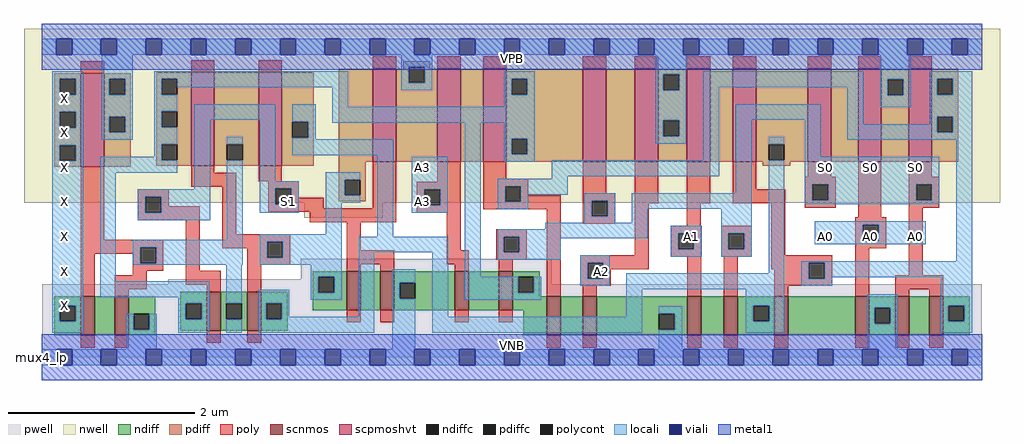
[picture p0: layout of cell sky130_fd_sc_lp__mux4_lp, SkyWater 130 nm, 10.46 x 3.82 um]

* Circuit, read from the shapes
.subckt sky130_fd_sc_lp__mux4_lp A0 A1 A2 A3 S0 S1 VGND VNB VPB VPWR X
XM1 n1 n2 X VNB sky130_fd_pr__nfet_01v8 w=0.42 l=0.15
XM2 VGND n2 n1 VNB sky130_fd_pr__nfet_01v8 w=0.42 l=0.15
XM3 n2 S1 n3 VNB sky130_fd_pr__nfet_01v8 w=0.42 l=0.15
XM4 n4 n5 n2 VNB sky130_fd_pr__nfet_01v8 w=0.42 l=0.15
XM5 n6 S1 n5 VNB sky130_fd_pr__nfet_01v8 w=0.42 l=0.15
XM6 VGND S1 n6 VNB sky130_fd_pr__nfet_01v8 w=0.42 l=0.15
XM7 n7 A3 VGND VNB sky130_fd_pr__nfet_01v8 w=0.42 l=0.15
XM8 n3 S0 n7 VNB sky130_fd_pr__nfet_01v8 w=0.42 l=0.15
XM9 n8 n9 n3 VNB sky130_fd_pr__nfet_01v8 w=0.42 l=0.15
XM10 VGND A2 n8 VNB sky130_fd_pr__nfet_01v8 w=0.42 l=0.15
XM11 n10 A1 VGND VNB sky130_fd_pr__nfet_01v8 w=0.42 l=0.15
XM12 n4 S0 n10 VNB sky130_fd_pr__nfet_01v8 w=0.42 l=0.15
XM13 n11 n9 n4 VNB sky130_fd_pr__nfet_01v8 w=0.42 l=0.15
XM14 VGND A0 n11 VNB sky130_fd_pr__nfet_01v8 w=0.42 l=0.15
XM15 n12 S0 VGND VNB sky130_fd_pr__nfet_01v8 w=0.42 l=0.15
XM16 n9 S0 n12 VNB sky130_fd_pr__nfet_01v8 w=0.42 l=0.15
XM17 VPWR n2 X VPB sky130_fd_pr__pfet_01v8_hvt w=1 l=0.25
XM18 n2 n5 n3 VPB sky130_fd_pr__pfet_01v8_hvt w=1 l=0.25
XM19 n4 S1 n2 VPB sky130_fd_pr__pfet_01v8_hvt w=1 l=0.25
XM20 VPWR S1 n5 VPB sky130_fd_pr__pfet_01v8_hvt w=1 l=0.25
XM21 n13 A3 VPWR VPB sky130_fd_pr__pfet_01v8_hvt w=1 l=0.25
XM22 n3 n9 n13 VPB sky130_fd_pr__pfet_01v8_hvt w=1 l=0.25
XM23 n14 S0 n3 VPB sky130_fd_pr__pfet_01v8_hvt w=1 l=0.25
XM24 VPWR A2 n14 VPB sky130_fd_pr__pfet_01v8_hvt w=1 l=0.25
XM25 n15 A1 VPWR VPB sky130_fd_pr__pfet_01v8_hvt w=1 l=0.25
XM26 n4 n9 n15 VPB sky130_fd_pr__pfet_01v8_hvt w=1 l=0.25
XM27 n16 S0 n4 VPB sky130_fd_pr__pfet_01v8_hvt w=1 l=0.25
XM28 VPWR A0 n16 VPB sky130_fd_pr__pfet_01v8_hvt w=1 l=0.25
XM29 n9 S0 VPWR VPB sky130_fd_pr__pfet_01v8_hvt w=1 l=0.25
.ends

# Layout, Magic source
magic
tech sky130A
magscale 1 2
<< nwell >>
rect -38 331 2054 704
rect 563 299 731 331
<< pwell >>
rect 555 167 1093 211
rect 271 157 1093 167
rect 1 49 2015 157
rect 0 0 2016 49
<< scnmos >>
rect 84 47 114 131
rect 156 47 186 131
rect 354 57 384 141
rect 440 57 470 141
rect 654 101 684 185
rect 726 101 756 185
rect 885 101 915 185
rect 980 101 1010 185
rect 1082 47 1112 131
rect 1160 47 1190 131
rect 1384 47 1414 131
rect 1462 47 1492 131
rect 1570 47 1600 131
rect 1744 47 1774 131
rect 1830 47 1860 131
rect 1902 47 1932 131
<< scpmoshvt >>
rect 84 409 134 609
rect 320 411 370 611
rect 465 411 515 611
rect 710 419 760 619
rect 848 419 898 619
rect 946 419 996 619
rect 1160 419 1210 619
rect 1271 419 1321 619
rect 1383 419 1433 619
rect 1481 419 1531 619
rect 1642 419 1692 619
rect 1750 419 1800 619
rect 1858 419 1908 619
<< ndiff >>
rect 581 173 654 185
rect 27 111 84 131
rect 27 77 39 111
rect 73 77 84 111
rect 27 47 84 77
rect 114 47 156 131
rect 186 93 243 131
rect 186 59 197 93
rect 231 59 243 93
rect 186 47 243 59
rect 297 116 354 141
rect 297 82 309 116
rect 343 82 354 116
rect 297 57 354 82
rect 384 116 440 141
rect 384 82 395 116
rect 429 82 440 116
rect 384 57 440 82
rect 470 116 527 141
rect 470 82 481 116
rect 515 82 527 116
rect 581 139 593 173
rect 627 139 654 173
rect 581 101 654 139
rect 684 101 726 185
rect 756 160 885 185
rect 756 126 767 160
rect 801 126 885 160
rect 756 101 885 126
rect 915 101 980 185
rect 1010 173 1067 185
rect 1010 139 1021 173
rect 1055 139 1067 173
rect 1010 131 1067 139
rect 1010 101 1082 131
rect 470 57 527 82
rect 1032 47 1082 101
rect 1112 47 1160 131
rect 1190 93 1384 131
rect 1190 59 1323 93
rect 1357 59 1384 93
rect 1190 47 1384 59
rect 1414 47 1462 131
rect 1492 111 1570 131
rect 1492 77 1525 111
rect 1559 77 1570 111
rect 1492 47 1570 77
rect 1600 47 1744 131
rect 1774 106 1830 131
rect 1774 72 1785 106
rect 1819 72 1830 106
rect 1774 47 1830 72
rect 1860 47 1902 131
rect 1932 111 1989 131
rect 1932 77 1943 111
rect 1977 77 1989 111
rect 1932 47 1989 77
<< pdiff >>
rect 775 623 833 635
rect 775 619 787 623
rect 27 597 84 609
rect 27 563 39 597
rect 73 563 84 597
rect 27 526 84 563
rect 27 492 39 526
rect 73 492 84 526
rect 27 455 84 492
rect 27 421 39 455
rect 73 421 84 455
rect 27 409 84 421
rect 134 597 191 609
rect 134 563 145 597
rect 179 563 191 597
rect 134 516 191 563
rect 134 482 145 516
rect 179 482 191 516
rect 134 409 191 482
rect 245 597 320 611
rect 245 563 257 597
rect 291 563 320 597
rect 245 527 320 563
rect 245 493 257 527
rect 291 493 320 527
rect 245 457 320 493
rect 245 423 257 457
rect 291 423 320 457
rect 245 411 320 423
rect 370 457 465 611
rect 370 423 397 457
rect 431 423 465 457
rect 370 411 465 423
rect 515 505 583 611
rect 515 471 537 505
rect 571 471 583 505
rect 515 411 583 471
rect 637 419 710 619
rect 760 589 787 619
rect 821 619 833 623
rect 821 589 848 619
rect 760 419 848 589
rect 898 419 946 619
rect 996 597 1160 619
rect 996 563 1007 597
rect 1041 563 1160 597
rect 996 469 1160 563
rect 996 435 1007 469
rect 1041 435 1160 469
rect 996 419 1160 435
rect 1210 419 1271 619
rect 1321 607 1383 619
rect 1321 573 1332 607
rect 1366 573 1383 607
rect 1321 508 1383 573
rect 1321 474 1332 508
rect 1366 474 1383 508
rect 1321 419 1383 474
rect 1433 419 1481 619
rect 1531 457 1642 619
rect 1531 423 1558 457
rect 1592 423 1642 457
rect 1531 419 1642 423
rect 1692 419 1750 619
rect 1800 596 1858 619
rect 1800 562 1813 596
rect 1847 562 1858 596
rect 1800 419 1858 562
rect 1908 597 1965 619
rect 1908 563 1919 597
rect 1953 563 1965 597
rect 1908 516 1965 563
rect 1908 482 1919 516
rect 1953 482 1965 516
rect 1908 419 1965 482
rect 637 381 695 419
rect 637 347 649 381
rect 683 347 695 381
rect 637 335 695 347
rect 1546 411 1604 419
<< ndiffc >>
rect 39 77 73 111
rect 197 59 231 93
rect 309 82 343 116
rect 395 82 429 116
rect 481 82 515 116
rect 593 139 627 173
rect 767 126 801 160
rect 1021 139 1055 173
rect 1323 59 1357 93
rect 1525 77 1559 111
rect 1785 72 1819 106
rect 1943 77 1977 111
<< pdiffc >>
rect 39 563 73 597
rect 39 492 73 526
rect 39 421 73 455
rect 145 563 179 597
rect 145 482 179 516
rect 257 563 291 597
rect 257 493 291 527
rect 257 423 291 457
rect 397 423 431 457
rect 537 471 571 505
rect 787 589 821 623
rect 1007 563 1041 597
rect 1007 435 1041 469
rect 1332 573 1366 607
rect 1332 474 1366 508
rect 1558 423 1592 457
rect 1813 562 1847 596
rect 1919 563 1953 597
rect 1919 482 1953 516
rect 649 347 683 381
<< poly >>
rect 84 609 134 635
rect 320 611 370 637
rect 465 611 515 637
rect 710 619 760 645
rect 848 619 898 645
rect 946 619 996 645
rect 1160 619 1210 645
rect 1271 619 1321 645
rect 1383 619 1433 645
rect 1481 619 1531 645
rect 1642 619 1692 645
rect 1750 619 1800 645
rect 1858 619 1908 645
rect 84 252 134 409
rect 320 396 370 411
rect 320 366 417 396
rect 465 378 515 411
rect 206 344 272 360
rect 206 310 222 344
rect 256 324 272 344
rect 256 310 339 324
rect 206 294 339 310
rect 84 236 261 252
rect 84 222 211 236
rect 84 131 114 222
rect 195 202 211 222
rect 245 202 261 236
rect 195 186 261 202
rect 309 186 339 294
rect 387 264 417 366
rect 485 362 551 378
rect 485 328 501 362
rect 535 342 551 362
rect 535 328 605 342
rect 485 320 605 328
rect 710 320 760 419
rect 848 376 898 419
rect 485 312 760 320
rect 575 290 760 312
rect 804 360 898 376
rect 804 326 820 360
rect 854 326 898 360
rect 804 310 898 326
rect 946 383 996 419
rect 946 367 1043 383
rect 946 333 993 367
rect 1027 347 1043 367
rect 1160 352 1210 419
rect 1027 333 1112 347
rect 946 317 1112 333
rect 387 248 533 264
rect 387 234 483 248
rect 440 214 483 234
rect 517 214 533 248
rect 440 198 533 214
rect 654 230 684 290
rect 868 230 898 310
rect 974 259 1040 275
rect 654 200 756 230
rect 868 200 915 230
rect 974 225 990 259
rect 1024 225 1040 259
rect 974 209 1040 225
rect 195 176 225 186
rect 156 146 225 176
rect 309 156 384 186
rect 156 131 186 146
rect 354 141 384 156
rect 440 141 470 198
rect 654 185 684 200
rect 726 185 756 200
rect 885 185 915 200
rect 980 185 1010 209
rect 1082 131 1112 317
rect 1160 336 1229 352
rect 1160 302 1179 336
rect 1213 302 1229 336
rect 1160 286 1229 302
rect 1271 330 1321 419
rect 1383 330 1433 419
rect 1481 360 1531 419
rect 1642 387 1692 419
rect 1636 371 1702 387
rect 1481 330 1594 360
rect 1271 219 1301 330
rect 1383 282 1413 330
rect 1154 203 1301 219
rect 1348 266 1414 282
rect 1348 232 1364 266
rect 1398 232 1414 266
rect 1348 216 1414 232
rect 1456 266 1522 282
rect 1456 232 1472 266
rect 1506 232 1522 266
rect 1456 216 1522 232
rect 1564 219 1594 330
rect 1636 337 1652 371
rect 1686 337 1702 371
rect 1636 321 1702 337
rect 1750 300 1800 419
rect 1858 387 1908 419
rect 1858 371 1924 387
rect 1858 337 1874 371
rect 1908 337 1924 371
rect 1858 321 1924 337
rect 1744 284 1810 300
rect 1744 250 1760 284
rect 1794 250 1810 284
rect 1744 234 1810 250
rect 1154 169 1170 203
rect 1204 189 1301 203
rect 1204 169 1220 189
rect 1154 153 1220 169
rect 1160 131 1190 153
rect 1384 131 1414 216
rect 1462 131 1492 216
rect 1564 203 1694 219
rect 1564 189 1644 203
rect 1570 169 1644 189
rect 1678 169 1694 203
rect 1570 153 1694 169
rect 1570 131 1600 153
rect 1744 131 1774 234
rect 1858 176 1888 321
rect 1830 146 1932 176
rect 1830 131 1860 146
rect 1902 131 1932 146
rect 654 75 684 101
rect 726 75 756 101
rect 885 75 915 101
rect 980 75 1010 101
rect 84 21 114 47
rect 156 21 186 47
rect 354 31 384 57
rect 440 31 470 57
rect 1082 21 1112 47
rect 1160 21 1190 47
rect 1384 21 1414 47
rect 1462 21 1492 47
rect 1570 21 1600 47
rect 1744 21 1774 47
rect 1830 21 1860 47
rect 1902 21 1932 47
<< polycont >>
rect 222 310 256 344
rect 211 202 245 236
rect 501 328 535 362
rect 820 326 854 360
rect 993 333 1027 367
rect 483 214 517 248
rect 990 225 1024 259
rect 1179 302 1213 336
rect 1364 232 1398 266
rect 1472 232 1506 266
rect 1652 337 1686 371
rect 1874 337 1908 371
rect 1760 250 1794 284
rect 1170 169 1204 203
rect 1644 169 1678 203
<< locali >>
rect 0 649 31 683
rect 65 649 127 683
rect 161 649 223 683
rect 257 649 319 683
rect 353 649 415 683
rect 449 649 511 683
rect 545 649 607 683
rect 641 649 703 683
rect 737 649 799 683
rect 833 649 895 683
rect 929 649 991 683
rect 1025 649 1087 683
rect 1121 649 1183 683
rect 1217 649 1279 683
rect 1313 649 1375 683
rect 1409 649 1471 683
rect 1505 649 1567 683
rect 1601 649 1663 683
rect 1697 649 1759 683
rect 1793 649 1855 683
rect 1889 649 1951 683
rect 1985 649 2016 683
rect 23 597 89 613
rect 23 563 39 597
rect 73 563 89 597
rect 23 526 89 563
rect 23 492 39 526
rect 73 492 89 526
rect 23 455 89 492
rect 129 597 195 649
rect 771 623 837 649
rect 129 563 145 597
rect 179 563 195 597
rect 129 516 195 563
rect 129 482 145 516
rect 179 482 195 516
rect 129 466 195 482
rect 241 597 657 613
rect 241 563 257 597
rect 291 579 657 597
rect 241 527 291 563
rect 241 493 257 527
rect 23 421 39 455
rect 73 421 89 455
rect 241 457 291 493
rect 241 430 257 457
rect 23 111 89 421
rect 125 423 257 430
rect 125 396 291 423
rect 327 509 501 543
rect 125 163 159 396
rect 327 360 361 509
rect 206 344 361 360
rect 206 310 222 344
rect 256 310 361 344
rect 206 294 361 310
rect 397 457 431 473
rect 397 252 431 423
rect 467 378 501 509
rect 537 505 587 543
rect 571 471 587 505
rect 623 537 657 579
rect 771 589 787 623
rect 821 589 837 623
rect 771 573 837 589
rect 991 597 1057 613
rect 991 563 1007 597
rect 1041 563 1057 597
rect 991 537 1057 563
rect 623 503 1057 537
rect 537 467 587 471
rect 537 433 753 467
rect 609 381 683 397
rect 467 362 551 378
rect 467 328 501 362
rect 535 328 551 362
rect 467 310 551 328
rect 609 347 649 381
rect 609 331 683 347
rect 609 264 643 331
rect 195 236 431 252
rect 195 202 211 236
rect 245 202 431 236
rect 195 199 431 202
rect 467 248 643 264
rect 719 259 753 433
rect 793 360 870 430
rect 793 326 820 360
rect 854 326 870 360
rect 793 310 870 326
rect 467 214 483 248
rect 517 214 643 248
rect 125 129 359 163
rect 23 77 39 111
rect 73 77 89 111
rect 293 116 359 129
rect 23 53 89 77
rect 181 59 197 93
rect 231 59 247 93
rect 181 17 247 59
rect 293 82 309 116
rect 343 82 359 116
rect 293 53 359 82
rect 395 116 429 199
rect 467 198 643 214
rect 577 173 643 198
rect 395 53 429 82
rect 465 116 531 145
rect 577 139 593 173
rect 627 139 643 173
rect 577 123 643 139
rect 679 225 871 259
rect 465 82 481 116
rect 515 87 531 116
rect 679 87 713 225
rect 515 82 713 87
rect 465 53 713 82
rect 751 160 801 189
rect 751 126 767 160
rect 751 17 801 126
rect 837 87 871 225
rect 907 173 941 503
rect 991 469 1057 503
rect 991 435 1007 469
rect 1041 435 1057 469
rect 1316 607 1382 649
rect 1316 573 1332 607
rect 1366 573 1382 607
rect 1316 508 1382 573
rect 1316 474 1332 508
rect 1366 474 1382 508
rect 1316 458 1382 474
rect 1418 579 1761 613
rect 991 419 1057 435
rect 1418 422 1452 579
rect 1093 388 1452 422
rect 1488 509 1670 543
rect 1093 383 1127 388
rect 977 367 1127 383
rect 977 333 993 367
rect 1027 349 1127 367
rect 1488 352 1522 509
rect 1027 333 1043 349
rect 977 317 1043 333
rect 1163 336 1229 352
rect 1163 302 1179 336
rect 1213 302 1229 336
rect 1163 289 1229 302
rect 1265 318 1522 352
rect 1265 289 1299 318
rect 1079 275 1299 289
rect 977 259 1299 275
rect 977 225 990 259
rect 1024 255 1299 259
rect 1348 266 1415 282
rect 1024 225 1113 255
rect 977 209 1113 225
rect 1348 232 1364 266
rect 1398 232 1415 266
rect 1154 203 1217 219
rect 1348 216 1415 232
rect 1456 266 1522 318
rect 1456 232 1472 266
rect 1506 232 1522 266
rect 1456 216 1522 232
rect 1558 457 1592 473
rect 907 139 1021 173
rect 1055 139 1071 173
rect 1154 169 1170 203
rect 1204 169 1217 203
rect 1558 180 1592 423
rect 1636 430 1670 509
rect 1727 500 1761 579
rect 1797 596 1863 649
rect 1797 562 1813 596
rect 1847 562 1863 596
rect 1797 536 1863 562
rect 1903 597 1994 613
rect 1903 563 1919 597
rect 1953 563 1994 597
rect 1903 516 1994 563
rect 1903 500 1919 516
rect 1727 482 1919 500
rect 1953 482 1994 516
rect 1727 466 1994 482
rect 1636 371 1924 430
rect 1636 337 1652 371
rect 1686 337 1874 371
rect 1908 337 1924 371
rect 1636 328 1924 337
rect 1657 284 1895 292
rect 1657 250 1760 284
rect 1794 250 1895 284
rect 1657 242 1895 250
rect 1960 206 1994 466
rect 1154 153 1217 169
rect 907 123 1071 139
rect 1253 146 1592 180
rect 1628 203 1994 206
rect 1628 169 1644 203
rect 1678 172 1994 203
rect 1678 169 1694 172
rect 1628 153 1694 169
rect 1253 87 1287 146
rect 1509 111 1592 146
rect 837 53 1287 87
rect 1323 93 1373 110
rect 1357 59 1373 93
rect 1323 17 1373 59
rect 1509 77 1525 111
rect 1559 77 1592 111
rect 1509 53 1592 77
rect 1769 106 1835 135
rect 1769 72 1785 106
rect 1819 72 1835 106
rect 1769 17 1835 72
rect 1927 111 1994 172
rect 1927 77 1943 111
rect 1977 77 1994 111
rect 1927 53 1994 77
rect 0 -17 31 17
rect 65 -17 127 17
rect 161 -17 223 17
rect 257 -17 319 17
rect 353 -17 415 17
rect 449 -17 511 17
rect 545 -17 607 17
rect 641 -17 703 17
rect 737 -17 799 17
rect 833 -17 895 17
rect 929 -17 991 17
rect 1025 -17 1087 17
rect 1121 -17 1183 17
rect 1217 -17 1279 17
rect 1313 -17 1375 17
rect 1409 -17 1471 17
rect 1505 -17 1567 17
rect 1601 -17 1663 17
rect 1697 -17 1759 17
rect 1793 -17 1855 17
rect 1889 -17 1951 17
rect 1985 -17 2016 17
<< viali >>
rect 31 649 65 683
rect 127 649 161 683
rect 223 649 257 683
rect 319 649 353 683
rect 415 649 449 683
rect 511 649 545 683
rect 607 649 641 683
rect 703 649 737 683
rect 799 649 833 683
rect 895 649 929 683
rect 991 649 1025 683
rect 1087 649 1121 683
rect 1183 649 1217 683
rect 1279 649 1313 683
rect 1375 649 1409 683
rect 1471 649 1505 683
rect 1567 649 1601 683
rect 1663 649 1697 683
rect 1759 649 1793 683
rect 1855 649 1889 683
rect 1951 649 1985 683
rect 31 -17 65 17
rect 127 -17 161 17
rect 223 -17 257 17
rect 319 -17 353 17
rect 415 -17 449 17
rect 511 -17 545 17
rect 607 -17 641 17
rect 703 -17 737 17
rect 799 -17 833 17
rect 895 -17 929 17
rect 991 -17 1025 17
rect 1087 -17 1121 17
rect 1183 -17 1217 17
rect 1279 -17 1313 17
rect 1375 -17 1409 17
rect 1471 -17 1505 17
rect 1567 -17 1601 17
rect 1663 -17 1697 17
rect 1759 -17 1793 17
rect 1855 -17 1889 17
rect 1951 -17 1985 17
<< metal1 >>
rect 0 683 2016 715
rect 0 649 31 683
rect 65 649 127 683
rect 161 649 223 683
rect 257 649 319 683
rect 353 649 415 683
rect 449 649 511 683
rect 545 649 607 683
rect 641 649 703 683
rect 737 649 799 683
rect 833 649 895 683
rect 929 649 991 683
rect 1025 649 1087 683
rect 1121 649 1183 683
rect 1217 649 1279 683
rect 1313 649 1375 683
rect 1409 649 1471 683
rect 1505 649 1567 683
rect 1601 649 1663 683
rect 1697 649 1759 683
rect 1793 649 1855 683
rect 1889 649 1951 683
rect 1985 649 2016 683
rect 0 617 2016 649
rect 0 17 2016 49
rect 0 -17 31 17
rect 65 -17 127 17
rect 161 -17 223 17
rect 257 -17 319 17
rect 353 -17 415 17
rect 449 -17 511 17
rect 545 -17 607 17
rect 641 -17 703 17
rect 737 -17 799 17
rect 833 -17 895 17
rect 929 -17 991 17
rect 1025 -17 1087 17
rect 1121 -17 1183 17
rect 1217 -17 1279 17
rect 1313 -17 1375 17
rect 1409 -17 1471 17
rect 1505 -17 1567 17
rect 1601 -17 1663 17
rect 1697 -17 1759 17
rect 1793 -17 1855 17
rect 1889 -17 1951 17
rect 1985 -17 2016 17
rect 0 -49 2016 -17
<< labels >>
flabel pwell s 0 0 2016 49 0 FreeSans 200 0 0 0 VNB
port 8 nsew ground bidirectional
flabel nwell s 0 617 2016 666 0 FreeSans 200 0 0 0 VPB
port 9 nsew power bidirectional
rlabel comment s 0 0 0 0 4 mux4_lp
flabel metal1 s 0 617 2016 666 0 FreeSans 340 0 0 0 VPWR
port 10 nsew power bidirectional
flabel metal1 s 0 0 2016 49 0 FreeSans 340 0 0 0 VGND
port 7 nsew ground bidirectional
flabel locali s 1663 390 1697 424 0 FreeSans 340 0 0 0 S0
port 5 nsew signal input
flabel locali s 1759 390 1793 424 0 FreeSans 340 0 0 0 S0
port 5 nsew signal input
flabel locali s 1855 390 1889 424 0 FreeSans 340 0 0 0 S0
port 5 nsew signal input
flabel locali s 799 316 833 350 0 FreeSans 340 0 0 0 A3
port 4 nsew signal input
flabel locali s 799 390 833 424 0 FreeSans 340 0 0 0 A3
port 4 nsew signal input
flabel locali s 1183 168 1217 202 0 FreeSans 340 0 0 0 A2
port 3 nsew signal input
flabel locali s 1375 242 1409 276 0 FreeSans 340 0 0 0 A1
port 2 nsew signal input
flabel locali s 1663 242 1697 276 0 FreeSans 340 0 0 0 A0
port 1 nsew signal input
flabel locali s 1759 242 1793 276 0 FreeSans 340 0 0 0 A0
port 1 nsew signal input
flabel locali s 1855 242 1889 276 0 FreeSans 340 0 0 0 A0
port 1 nsew signal input
flabel locali s 31 94 65 128 0 FreeSans 340 0 0 0 X
port 11 nsew signal output
flabel locali s 31 168 65 202 0 FreeSans 340 0 0 0 X
port 11 nsew signal output
flabel locali s 31 242 65 276 0 FreeSans 340 0 0 0 X
port 11 nsew signal output
flabel locali s 31 316 65 350 0 FreeSans 340 0 0 0 X
port 11 nsew signal output
flabel locali s 31 390 65 424 0 FreeSans 340 0 0 0 X
port 11 nsew signal output
flabel locali s 31 464 65 498 0 FreeSans 340 0 0 0 X
port 11 nsew signal output
flabel locali s 31 538 65 572 0 FreeSans 340 0 0 0 X
port 11 nsew signal output
flabel locali s 511 316 545 350 0 FreeSans 340 0 0 0 S1
port 6 nsew signal input
<< properties >>
string LEFsite unit
string LEFclass CORE
string FIXED_BBOX 0 0 2016 666
string GDS_FILE $PDKPATH/libs.ref/sky130_fd_sc_lp/gds/sky130_fd_sc_lp.gds
string LEFsymmetry X Y R90
string GDS_END 1505652
string GDS_START 1491130
<< end >>
